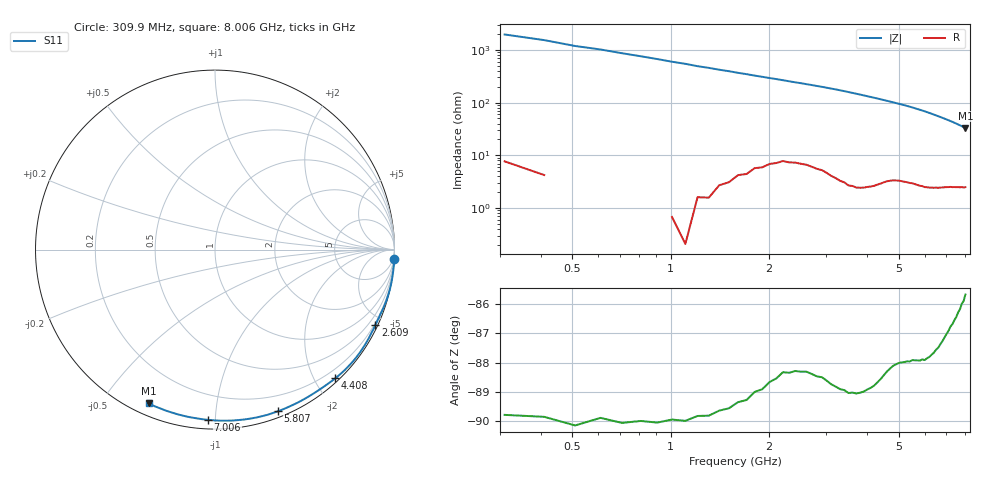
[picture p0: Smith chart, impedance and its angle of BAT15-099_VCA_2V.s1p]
! Infineon Technologies  Discrete & RF Semiconductors
! BAT15-099
! VCA = 2 V
! One-Port S-Parameters
# Hz  S  MA  R  50
!f  S11
!Hz  Mag  Ang
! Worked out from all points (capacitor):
!   78 points, 309.9 MHz to 8.006 GHz, reference 50 ohm
!   read as one part to ground: C = 262 fF near 309.9 MHz
!   lowest |Z| = 33 ohm at 8.006 GHz (marker M1)
!   S11 on the Smith chart (normalised r, x): 309.9 MHz: 0, -39; 2.609 GHz: 0.13, -4.47; 4.408 GHz: 0.06, -2.31; 5.807 GHz: 0.05, -1.46; 7.006 GHz: 0.05, -0.96; 8.006 GHz: 0.05, -0.66
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3.0985e8  0.9998 -2.9
4.098e8  0.9998 -3.7
5.0975e8  1 -4.8
9.0955e8  1 -8.5
1.30935e9  0.9992 -12.5
1.70915e9  0.9964 -16.4
2.30885e9  0.9891 -22.3
2.6087e9  0.9875 -25.2
3.2084e9  0.9893 -31.4
3.50825e9  0.9903 -35.0
3.70815e9  0.9899 -37.5
4.2079e9  0.9852 -44.1
4.4078e9  0.9817 -46.9
4.8076e9  0.974 -52.5
5.2074e9  0.9703 -58.5
5.50725e9  0.9679 -63.4
5.8071e9  0.9668 -68.7
6.007e9  0.9658 -72.3
6.10695e9  0.9644 -74.3
6.4068e9  0.9605 -80.2
6.6067e9  0.9573 -84.3
6.8066e9  0.9534 -88.3
7.0065e9  0.9493 -92.4
7.10645e9  0.9476 -94.3
7.30635e9  0.9443 -98.5
7.50625e9  0.9411 -102.6
7.70615e9  0.9381 -106.9
8.006e9  0.9329 -113.2
